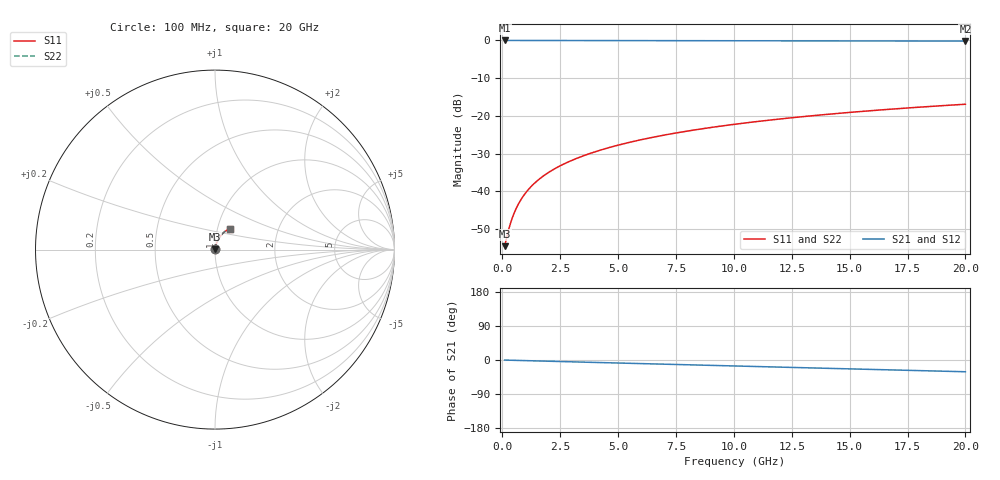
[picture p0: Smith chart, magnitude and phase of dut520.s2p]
! Touchstone file exported from HFSS 2026.1.0
!  File:  C:/ffzhzh/LocalFiles/Ansys_Project_Files/temp_train_TMRDL_520_1783007092_55676.aedt
!  Generated:  11:46:11 PM Jul  2, 2026
!  Design:  TMRDL
!  Project:  temp_train_TMRDL_520_1783007092_55676
! Variables:
!  h_bsmrdl = 2um
!  h_ox = 20um
!  h_rdl = 5um
!  h_sub = 80um
!  h_tmrdl = 5.58um
!  h_tsv = 80um
!  h_via = 3um
!  l_bsmrdl = 300um
!  l_sub = 921.79um
!  l_tmrdl = 521.79um
!  m_sub = 200um
!  pitch = 38.25um
!  r_tsv = 6um
!  s_tmrdl = 10um
!  w_bsmrdl = 18um
!  w_sub = 500um
!  w_tmrdl = 26.25um
!  x_tsv_center1 = 534.915um
!  x_tsv_center2 = 852.915um
!  x_tsv_center3 = 1400.955um
!  x_tsv_center4 = 1718.955um
!  x_tsv_center5 = 2266.995um
!  x_tsv_center6 = 2584.995um
# GHz S MA R 50.000000
! Terminal data exported
! Port[1] = TM_RDL1_1_T1
! Port[2] = TM_RDL1_1_T2
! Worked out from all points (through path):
!   200 points, 100 MHz to 20 GHz, reference 50 ohm
!   highest |S21| = -0.01 dB at 100 MHz (marker M1); lowest = -0.2 dB at 20 GHz (marker M2)
!   group delay of S21, straight-line fit = 4.3 ps
!   lowest |S11| = -54.6 dB at 100 MHz (marker M3), VSWR 1.00, Z = 50.2 + j0.111 ohm
!   |S11| at or under -10 dB: start of sweep to end of sweep
!   |S22| runs from -54.6 to -16.9 dB; largest |S21 - S12| = 8.4e-15
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0.1  0.001867 36.5  0.9985 -0.2  0.9985 -0.2  0.001867 36.5
! Gamma 0 0 0 0
! Port Impedance 50 0 50 0
0.2  0.002514 56.0  0.9983 -0.3  0.9983 -0.3  0.002529 56.2
0.3  0.003302 65.3  0.9982 -0.5  0.9982 -0.5  0.003326 65.5
0.4  0.004149 70.2  0.998 -0.7  0.998 -0.7  0.004177 70.4
0.5  0.005022 73.0  0.998 -0.8  0.998 -0.8  0.005052 73.2
0.6  0.005906 74.8  0.9979 -1.0  0.9979 -1.0  0.005937 74.9
0.8  0.007676 76.6  0.9978 -1.3  0.9978 -1.3  0.007708 76.7
1.1  0.01029 77.6  0.9976 -1.8  0.9976 -1.8  0.01032 77.6
1.3  0.012 77.8  0.9975 -2.1  0.9975 -2.1  0.01203 77.8
1.5  0.01368 77.9  0.9974 -2.4  0.9974 -2.4  0.0137 77.8
1.8  0.01614 77.8  0.9972 -2.9  0.9972 -2.9  0.01616 77.8
2.1  0.01856 77.6  0.9969 -3.4  0.9969 -3.4  0.01857 77.6
2.7  0.02329 77.2  0.9964 -4.4  0.9964 -4.4  0.02329 77.2
3.5  0.02946 76.6  0.9957 -5.6  0.9957 -5.6  0.02946 76.6
4.2  0.03479 75.9  0.995 -6.7  0.995 -6.7  0.03479 75.9
5  0.0408 75.1  0.9943 -8.0  0.9943 -8.0  0.0408 75.1
6.8  0.05409 73.0  0.9927 -10.8  0.9927 -10.8  0.05409 73.0
8.3  0.06493 71.1  0.9913 -13.1  0.9913 -13.1  0.06493 71.1
10.1  0.07769 68.8  0.9897 -15.9  0.9897 -15.9  0.07768 68.8
13.4  0.1003 64.3  0.9866 -21.0  0.9866 -21.0  0.1003 64.3
16.7  0.122 59.7  0.9833 -26.0  0.9833 -26.0  0.122 59.7
20  0.1424 55.0  0.9798 -31.0  0.9798 -31.0  0.1424 55.0
